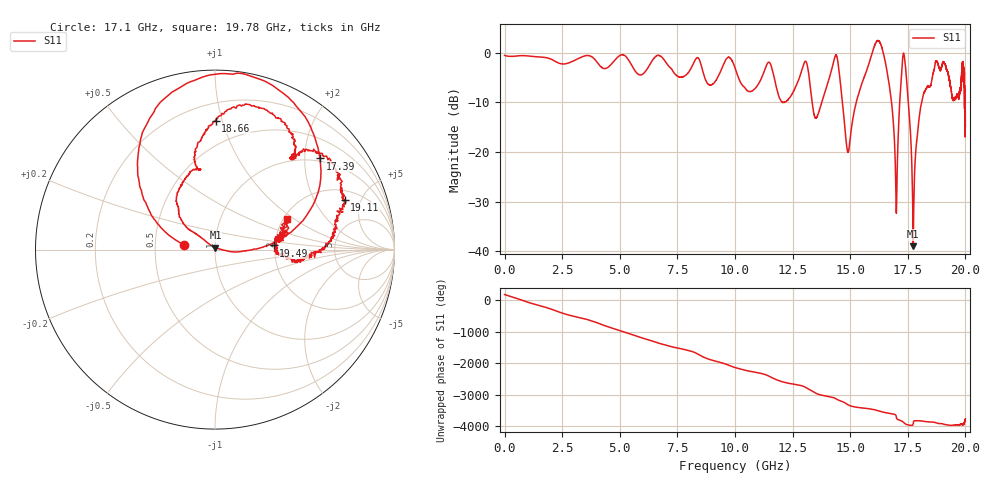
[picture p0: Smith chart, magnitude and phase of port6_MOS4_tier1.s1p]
! Created with skrf 1.8.0 (http://scikit-rf.org).
# GHz S RI R 50.0
!freq ReS11 ImS11
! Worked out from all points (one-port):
!   10001 points, 1 MHz to 20 GHz, reference 50 ohm
!   lowest |S11| = -39.0 dB at 17.74 GHz (marker M1), VSWR 1.02, Z = 50.2 + j1.1 ohm
!   |S11| at or under -10 dB: 13.35 GHz to 13.76 GHz (415.7 MHz wide, 3.07 % of centre); 14.66 GHz to 15.26 GHz (594.3 MHz wide, 3.97 % of centre); 17.52 GHz to 18.1 GHz (579 MHz wide, 3.25 % of centre) (the widest 3 of 12)
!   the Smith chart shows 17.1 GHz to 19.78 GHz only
!   S11 on the Smith chart (normalised r, x): 17.1 GHz: 0.71, +0.04; 17.39 GHz: 0.93, +2.36; 18.66 GHz: 0.32, +0.95; 19.11 GHz: 2.61, +3.59; 19.49 GHz: 1.97, +0.10; 19.78 GHz: 2.09, +0.87
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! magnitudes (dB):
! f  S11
! 1 MHz  -0.5
! 2.501 GHz  -2.3
! 5.001 GHz  -0.6
! 7.501 GHz  -4.7
! 10 GHz  -3.0
! 10.67 GHz  -7.8
! 11.48 GHz  -1.9
! 12.01 GHz  -9.8
! 12.5 GHz  -8.1
! 13.07 GHz  -1.7
! 13.54 GHz  -13.0
! 14.38 GHz  -0.5
! 14.85 GHz  -18.8
! 15 GHz  -17.2
! 16.2 GHz  2.4
! 16.69 GHz  -6.4
! 16.97 GHz  -25.3
! 17.1 GHz  -15.2
! 17.25 GHz  -3.0
! 17.39 GHz  -2.2
! 17.5 GHz  -8.6
! 17.74 GHz  -39.0
! 18.09 GHz  -10.3
! 18.66 GHz  -2.9
! 19.11 GHz  -2.2
! 19.49 GHz  -9.7
! 19.78 GHz  -7.2
! 20 GHz  -14.8
